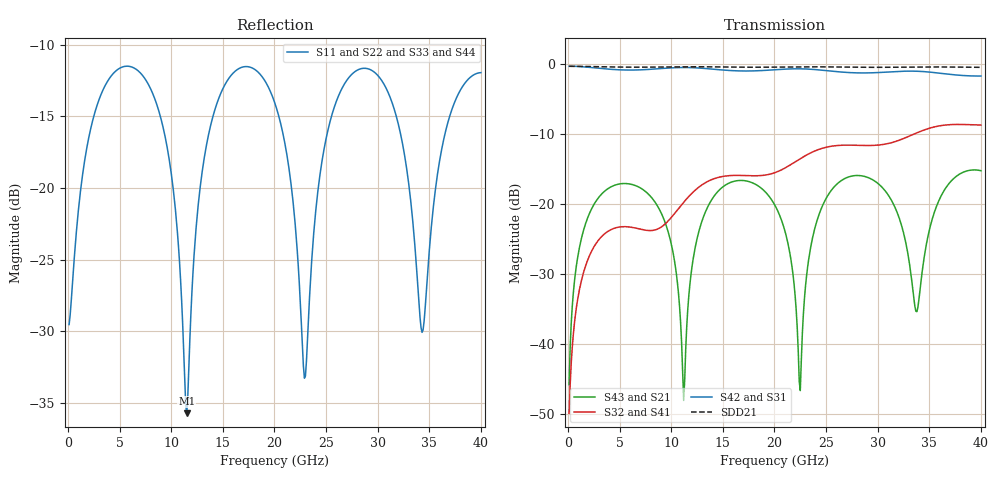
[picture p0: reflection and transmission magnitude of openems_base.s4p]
! thru_BV_ts_m2_per0_in: 2×thru F.Cu, 8 mm, pair
! stackup: as the board case
! ports: 1 near, 2 near, 3 far, 4 far
! openEMS 0.37.0, staircase, base mesh (dfine 0.035 mm), 403200 cells
# Hz S RI R 50
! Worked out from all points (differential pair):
!   400 points, 100 MHz to 40 GHz, reference 50 ohm
!   strongest paths, dB at 100 MHz, 10.1 GHz, 20.1 GHz, 30.1 GHz, 40 GHz:
!     S42: -0.3, -0.5, -0.8, -1.2, -1.7
!     S31: -0.3, -0.5, -0.8, -1.2, -1.7
!     S32: -49.8, -21.7, -15.5, -11.5, -8.7
!     S41: -49.8, -21.7, -15.5, -11.5, -8.7
!     S43: -45.8, -26.4, -20.3, -17.1, -15.2
!     S21: -45.8, -26.4, -20.3, -17.1, -15.2
!   taken as a pair (ports 2,1 in; 4,3 out), SDD21 dB: -0.3, -0.4, -0.4, -0.5, -0.5
!   lowest |S11| = -35.7 dB at 11.5 GHz (marker M1), VSWR 1.03, Z = 51.6 + j0.25 ohm
!   |S11| at or under -10 dB: start of sweep to end of sweep
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1e8  -0.0322 0.00884  0.0025 0.00451  0.9669 -0.0277  0.00215 -0.00239
     0.0025 0.00451  -0.0322 0.00884  0.00215 -0.00239  0.9669 -0.0277
     0.9669 -0.0277  0.00215 -0.00239  -0.0322 0.00884  0.0025 0.00451
     0.00215 -0.00239  0.9669 -0.0277  0.0025 0.00451  -0.0322 0.00884
4.2e9  0.2147 0.1212  0.1274 0.04  0.3752 -0.8378  -0.0654 0.00956
       0.1274 0.04  0.2147 0.1212  -0.0654 0.00956  0.3752 -0.8378
       0.3752 -0.8378  -0.0654 0.00956  0.2147 0.1212  0.1274 0.04
       -0.0654 0.00956  0.3752 -0.8378  0.1274 0.04  0.2147 0.1212
1.15e10  0.0162 0.00242  0.00546 0.0124  -0.9445 -0.0558  -0.000558 0.1095
         0.00546 0.0124  0.0162 0.00242  -0.000558 0.1095  -0.9445 -0.0558
         -0.9445 -0.0558  -0.000558 0.1095  0.0162 0.00242  0.00546 0.0124
         -0.000558 0.1095  -0.9445 -0.0558  0.00546 0.0124  0.0162 0.00242
1.69e10  0.2616 0.0364  0.1465 -0.0198  -0.1625 0.879  0.1597 -0.0159
         0.1465 -0.0198  0.2616 0.0364  0.1597 -0.0159  -0.1625 0.879
         -0.1625 0.879  0.1597 -0.0159  0.2616 0.0364  0.1465 -0.0198
         0.1597 -0.0159  -0.1625 0.879  0.1465 -0.0198  0.2616 0.0364
2.29e10  0.0217 -0.0018  0.000291 0.0211  0.9161 0.1245  0.023 -0.219
         0.000291 0.0211  0.0217 -0.0018  0.023 -0.219  0.9161 0.1245
         0.9161 0.1245  0.023 -0.219  0.0217 -0.0018  0.000291 0.0211
         0.023 -0.219  0.9161 0.1245  0.000291 0.0211  0.0217 -0.0018
3.01e10  0.2354 -0.0674  0.1019 -0.0949  -0.1817 -0.8522  -0.2471 0.0948
         0.1019 -0.0949  0.2354 -0.0674  -0.2471 0.0948  -0.1817 -0.8522
         -0.1817 -0.8522  -0.2471 0.0948  0.2354 -0.0674  0.1019 -0.0949
         -0.2471 0.0948  -0.1817 -0.8522  0.1019 -0.0949  0.2354 -0.0674
4e10  0.2523 0.0116  0.1566 -0.0748  -0.1908 0.8001  0.3664 0.032
      0.1566 -0.0748  0.2523 0.0116  0.3664 0.032  -0.1908 0.8001
      -0.1908 0.8001  0.3664 0.032  0.2523 0.0116  0.1566 -0.0748
      0.3664 0.032  -0.1908 0.8001  0.1566 -0.0748  0.2523 0.0116
